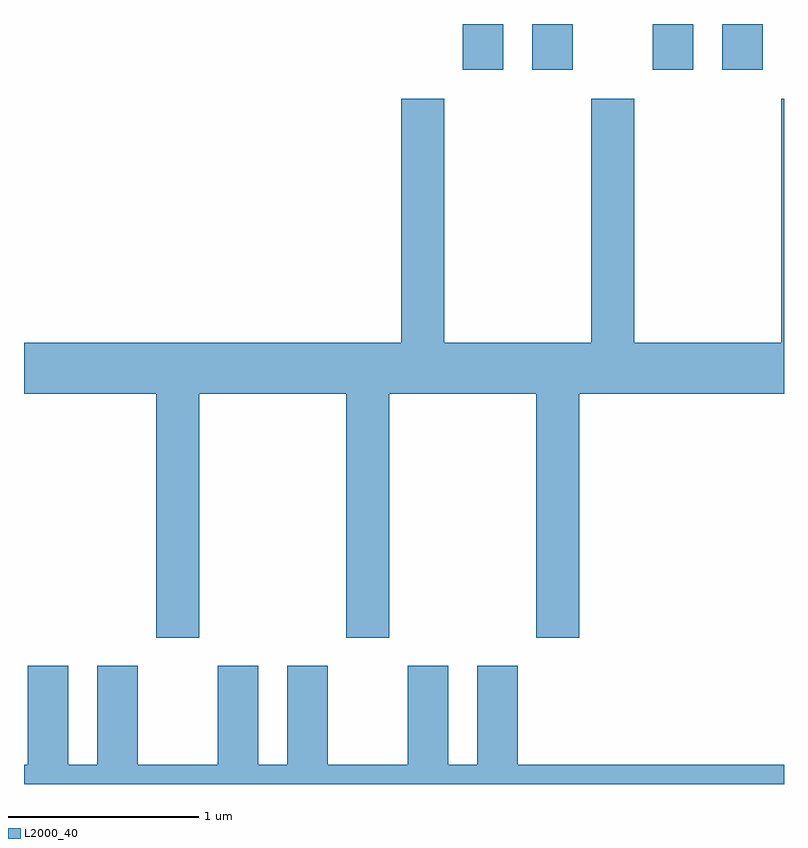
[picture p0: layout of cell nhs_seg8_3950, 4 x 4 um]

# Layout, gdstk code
import gdstk
lib = gdstk.Library(unit=1e-6, precision=1e-09)
def R(c, l, rs):  # rectangles x0, y0, x1, y1
    for r in rs: c.add(gdstk.rectangle(r[:2], r[2:], *l))
def P(c, l, *ps):  # polygons
    for p in ps: c.add(gdstk.Polygon(p, *l))
L2000_40 = (2000, 40)

nhs_seg8_3950 = lib.new_cell('nhs_seg8_3950')
R(nhs_seg8_3950, L2000_40, [(305.921,1858.101,306.134,1858.342), (306.286,1858.101,306.499,1858.342), (306.921,1858.101,307.134,1858.342), (307.286,1858.101,307.499,1858.342)])
P(nhs_seg8_3950, L2000_40, [(304.534,1856.396),(305.306,1856.396),(305.306,1855.111),(305.534,1855.111),(305.534,1856.396),(306.306,1856.396),(306.306,1855.111),(306.534,1855.111),(306.534,1856.396),(307.611,1856.396),(307.611,1857.949),(307.596,1857.949),(307.596,1856.664),(306.824,1856.664),(306.824,1857.949),(306.596,1857.949),(306.596,1856.664),(305.824,1856.664),(305.824,1857.949),(305.596,1857.949),(305.596,1856.664),(303.611,1856.664),(303.611,1856.396),(304.306,1856.396),(304.306,1855.111),(304.534,1855.111)],
  [(307.611,1854.444),(306.209,1854.444),(306.209,1854.964),(305.996,1854.964),(305.996,1854.444),(305.844,1854.444),(305.844,1854.964),(305.631,1854.964),(305.631,1854.444),(305.209,1854.444),(305.209,1854.964),(304.996,1854.964),(304.996,1854.444),(304.844,1854.444),(304.844,1854.964),(304.631,1854.964),(304.631,1854.444),(304.209,1854.444),(304.209,1854.964),(303.996,1854.964),(303.996,1854.444),(303.844,1854.444),(303.844,1854.964),(303.631,1854.964),(303.631,1854.444),(303.611,1854.444),(303.611,1854.342),(307.611,1854.342)])

lib.write_gds('nhs_seg8_3950.gds')
